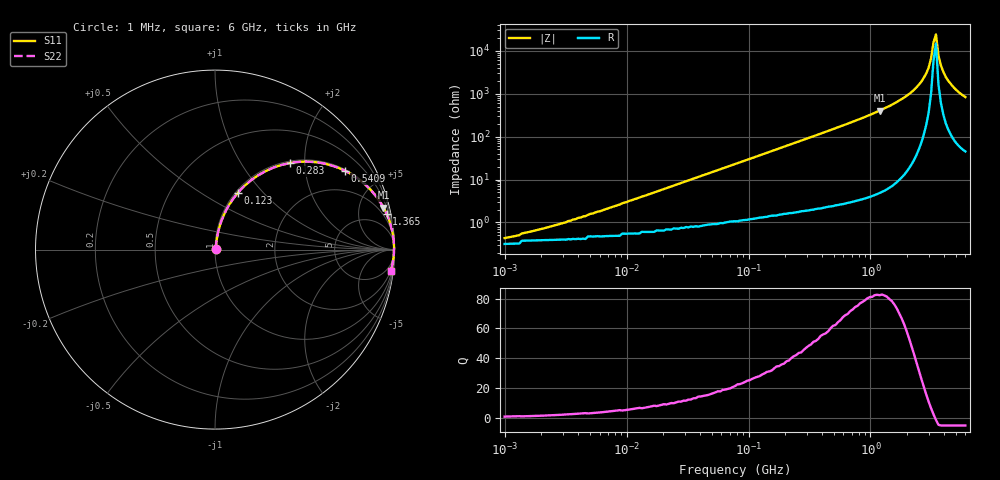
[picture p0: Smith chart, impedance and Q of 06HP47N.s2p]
# MHz S MA R 50
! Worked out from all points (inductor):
!   189 points, 1 MHz to 6 GHz, reference 50 ohm
!   read as one part in series: L = 47 nH near 4.396 MHz
!   highest Q = 82.6 at 1.188 GHz (marker M1), where L = 53.5 nH
!   self-resonance near 3.288 GHz
!   S11 on the Smith chart (normalised r, x): 1 MHz: 1.01, +0.01; 123 MHz: 1.03, +0.73; 283 MHz: 1.04, +1.68; 540.9 MHz: 1.05, +3.28; 1.365 GHz: 1.10, +9.63; 6 GHz: 2, -17
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1  0.004443 41.3  0.997 -0.2  0.997 -0.2  0.004443 41.3
4.396  0.014 70.7  0.996 -0.7  0.996 -0.7  0.014 70.7
18.454  0.054 80.2  0.992 -3.1  0.992 -3.1  0.054 80.2
77.46  0.221 74.6  0.965 -12.8  0.965 -12.8  0.221 74.6
123.039  0.338 68.2  0.929 -19.8  0.929 -19.8  0.338 68.2
282.995  0.637 49.2  0.757 -39.6  0.757 -39.6  0.637 49.2
340.538  0.706 44.0  0.695 -44.9  0.695 -44.9  0.706 44.0
540.917  0.848 31.1  0.517 -58.0  0.517 -58.0  0.848 31.1
1187.879  0.967 14.0  0.242 -75.3  0.242 -75.3  0.967 14.0
1364.777  0.977 11.7  0.203 -77.6  0.203 -77.6  0.977 11.7
1429.415  0.979 11.0  0.191 -78.3  0.191 -78.3  0.979 11.0
2069.811  0.993 5.8  0.102 -83.1  0.102 -83.1  0.993 5.8
2608.635  0.997 3.0  0.053 -84.8  0.053 -84.8  0.997 3.0
2997.112  0.997 1.4  0.025 -83.4  0.025 -83.4  0.997 1.4
3139.06  0.998 0.9  0.015 -80.4  0.015 -80.4  0.998 0.9
3287.73  0.998 0.3  0.006413 -67.2  0.006413 -67.2  0.998 0.3
3443.441  0.997 -0.2  0.004198 51.6  0.004198 51.6  0.997 -0.2
3606.527  0.997 -0.7  0.013 76.9  0.013 76.9  0.997 -0.7
3777.337  0.997 -1.2  0.022 81.1  0.022 81.1  0.997 -1.2
4143.61  0.996 -2.3  0.041 82.9  0.041 82.9  0.996 -2.3
4986.147  0.992 -4.5  0.079 82.1  0.079 82.1  0.992 -4.5
6000  0.986 -6.8  0.119 80.1  0.119 80.1  0.986 -6.8
